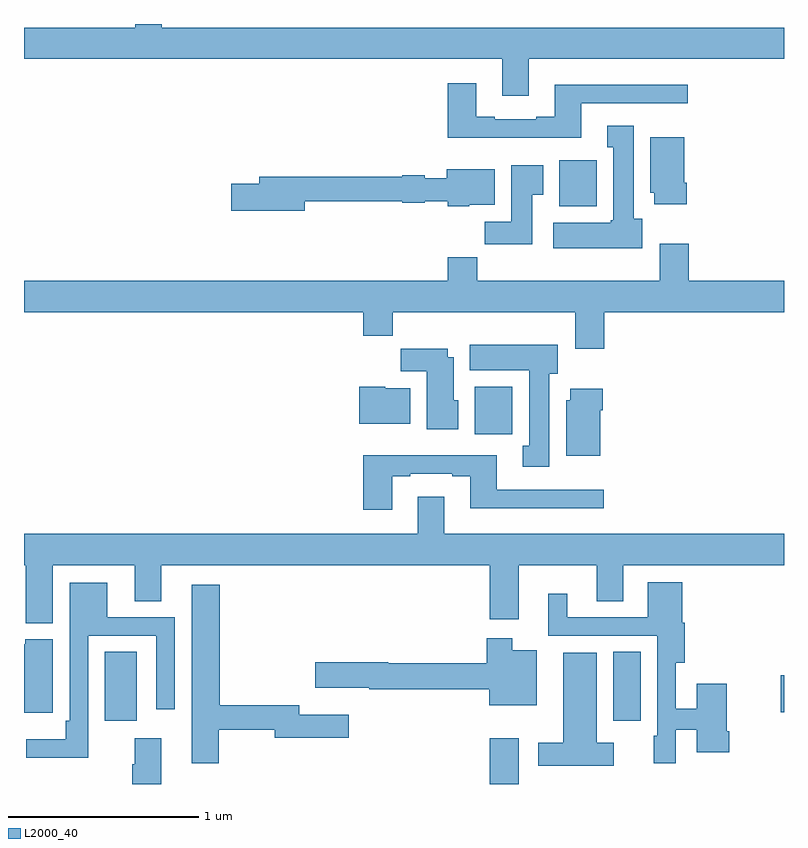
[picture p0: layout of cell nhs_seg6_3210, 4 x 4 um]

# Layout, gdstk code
import gdstk
lib = gdstk.Library(unit=1e-6, precision=1e-09)
def R(c, l, rs):  # rectangles x0, y0, x1, y1
    for r in rs: c.add(gdstk.rectangle(r[:2], r[2:], *l))
def P(c, l, *ps):  # polygons
    for p in ps: c.add(gdstk.Polygon(p, *l))
L2000_40 = (2000, 40)

nhs_seg6_3210 = lib.new_cell('nhs_seg6_3210')
R(nhs_seg6_3210, L2000_40, [(301.451,963.5,301.603,963.742), (299.426,963.834,299.593,964.196), (302.102,963.834,302.245,964.196), (302.984,963.878,303,964.072), (301.373,965.34,301.569,965.59), (301.817,966.542,302.014,966.784)])
P(nhs_seg6_3210, L2000_40, [(301.657,967.316),(303,967.316),(303,967.48),(299.725,967.48),(299.725,967.5),(299.585,967.5),(299.585,967.48),(299,967.48),(299,967.316),(301.517,967.316),(301.517,967.122),(301.657,967.122)],
  [(301.933,967.083),(302.494,967.083),(302.494,967.18),(301.793,967.18),(301.793,967.012),(301.697,967.012),(301.697,966.999),(301.477,966.999),(301.477,967.012),(301.381,967.012),(301.381,967.189),(301.229,967.189),(301.229,966.902),(301.933,966.902)],
  [(302.254,966.474),(302.209,966.474),(302.209,966.964),(302.069,966.964),(302.069,966.851),(302.102,966.851),(302.102,966.468),(302.089,966.468),(302.089,966.454),(301.785,966.454),(301.785,966.32),(302.254,966.32)],
  [(302.489,966.664),(302.476,966.664),(302.476,966.904),(302.297,966.904),(302.297,966.612),(302.318,966.612),(302.318,966.552),(302.489,966.552)],
  [(301.675,966.601),(301.732,966.601),(301.732,966.757),(301.565,966.757),(301.565,966.46),(301.426,966.46),(301.426,966.342),(301.675,966.342)],
  [(300.478,966.567),(300.99,966.567),(300.99,966.559),(301.11,966.559),(301.11,966.566),(301.23,966.566),(301.23,966.542),(301.344,966.542),(301.344,966.548),(301.477,966.548),(301.477,966.736),(301.226,966.736),(301.226,966.688),(301.11,966.688),(301.11,966.703),(300.99,966.703),(300.99,966.695),(300.239,966.695),(300.239,966.659),(300.09,966.659),(300.09,966.517),(300.478,966.517)],
  [(302.054,965.984),(303,965.984),(303,966.148),(302.498,966.148),(302.498,966.343),(302.345,966.343),(302.345,966.148),(301.385,966.148),(301.385,966.272),(301.229,966.272),(301.229,966.148),(299,966.148),(299,965.984),(300.785,965.984),(300.785,965.86),(300.941,965.86),(300.941,965.984),(301.901,965.984),(301.901,965.79),(302.054,965.79)],
  [(301.765,965.658),(301.81,965.658),(301.81,965.812),(301.346,965.812),(301.346,965.678),(301.658,965.678),(301.658,965.281),(301.625,965.281),(301.625,965.169),(301.765,965.169)],
  [(301.285,965.52),(301.261,965.52),(301.261,965.746),(301.231,965.746),(301.231,965.791),(300.982,965.791),(300.982,965.672),(301.121,965.672),(301.121,965.366),(301.285,965.366)],
  [(301.033,965.584),(300.9,965.584),(300.9,965.59),(300.764,965.59),(300.764,965.396),(301.033,965.396)],
  [(302.032,965.468),(302.045,965.468),(302.045,965.581),(301.874,965.581),(301.874,965.52),(301.853,965.52),(301.853,965.228),(302.032,965.228)],
  [(300.937,965.121),(301.033,965.121),(301.033,965.133),(301.253,965.133),(301.253,965.121),(301.349,965.121),(301.349,964.952),(302.05,964.952),(302.05,965.049),(301.489,965.049),(301.489,965.23),(300.785,965.23),(300.785,964.944),(300.937,964.944)],
  [(299.152,964.652),(299.582,964.652),(299.582,964.462),(299.722,964.462),(299.722,964.652),(301.451,964.652),(301.451,964.368),(301.603,964.368),(301.603,964.652),(302.015,964.652),(302.015,964.462),(302.155,964.462),(302.155,964.652),(303,964.652),(303,964.816),(301.213,964.816),(301.213,965.011),(301.073,965.011),(301.073,964.816),(299,964.816),(299,964.652),(299.009,964.652),(299.009,964.346),(299.152,964.346)],
  [(302.43,963.786),(302.54,963.786),(302.54,963.666),(302.711,963.666),(302.711,963.778),(302.698,963.778),(302.698,964.027),(302.54,964.027),(302.54,963.897),(302.43,963.897),(302.43,964.139),(302.477,964.139),(302.477,964.35),(302.464,964.35),(302.464,964.561),(302.282,964.561),(302.282,964.377),(301.858,964.377),(301.858,964.501),(301.76,964.501),(301.76,964.281),(302.334,964.281),(302.334,963.753),(302.315,963.753),(302.315,963.609),(302.43,963.609)],
  [(299.337,964.281),(299.697,964.281),(299.697,963.894),(299.793,963.894),(299.793,964.377),(299.437,964.377),(299.437,964.558),(299.241,964.558),(299.241,963.832),(299.221,963.832),(299.221,963.736),(299.013,963.736),(299.013,963.638),(299.337,963.638)],
  [(300.024,963.786),(300.32,963.786),(300.32,963.743),(300.709,963.743),(300.709,963.865),(300.448,963.865),(300.448,963.914),(300.029,963.914),(300.029,964.549),(299.882,964.549),(299.882,963.609),(300.024,963.609)],
  [(301.699,964.204),(301.57,964.204),(301.57,964.267),(301.436,964.267),(301.436,964.136),(300.918,964.136),(300.918,964.142),(300.534,964.142),(300.534,964.007),(300.818,964.007),(300.818,964),(301.448,964),(301.448,963.914),(301.699,963.914)],
  [(299.152,964.261),(299.007,964.261),(299.007,964.236),(299,964.236),(299,963.875),(299.152,963.875)],
  [(302.104,963.718),(302.014,963.718),(302.014,964.192),(301.838,964.192),(301.838,963.718),(301.707,963.718),(301.707,963.596),(302.104,963.596)],
  [(299.722,963.742),(299.582,963.742),(299.582,963.605),(299.57,963.605),(299.57,963.5),(299.722,963.5)])

lib.write_gds('nhs_seg6_3210.gds')
